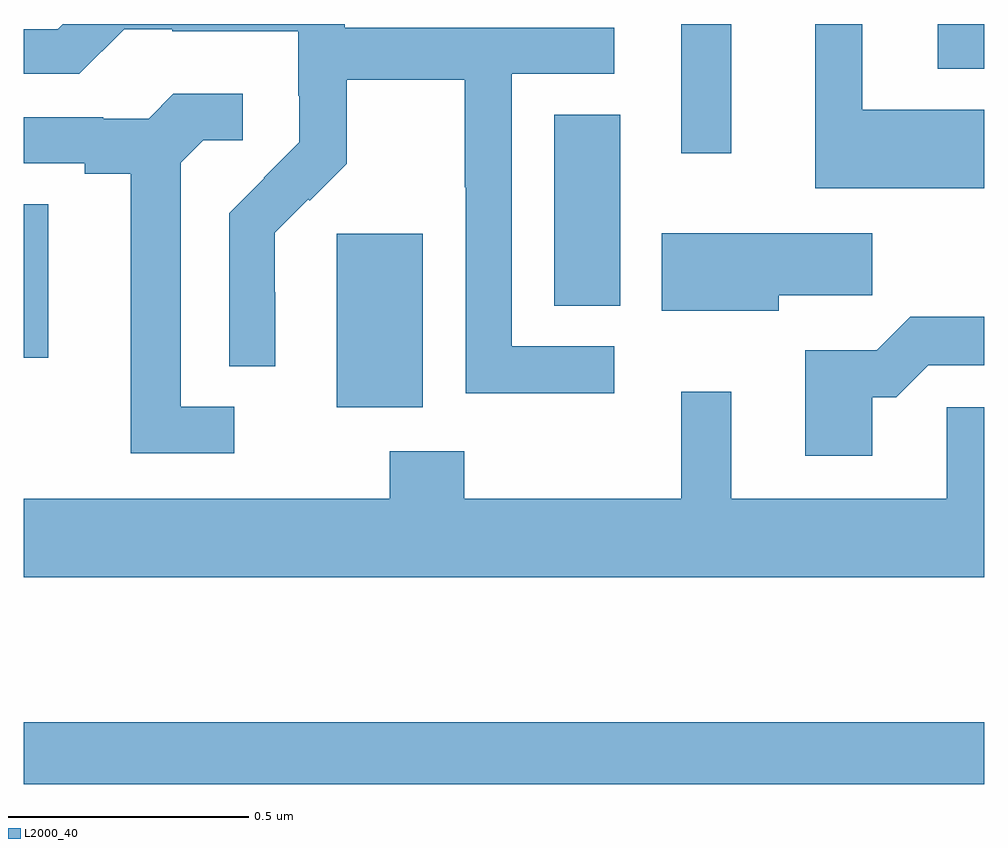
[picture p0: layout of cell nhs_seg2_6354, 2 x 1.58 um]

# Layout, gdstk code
import gdstk
lib = gdstk.Library(unit=1e-6, precision=1e-09)
def R(c, l, rs):  # rectangles x0, y0, x1, y1
    for r in rs: c.add(gdstk.rectangle(r[:2], r[2:], *l))
def P(c, l, *ps):  # polygons
    for p in ps: c.add(gdstk.Polygon(p, *l))
L2000_40 = (2000, 40)

nhs_seg2_6354 = lib.new_cell('nhs_seg2_6354')
R(nhs_seg2_6354, L2000_40, [(190,635.218,192,635.347), (190.652,636.002,190.831,636.363), (190,636.105,190.051,636.425), (191.105,636.214,191.242,636.611), (191.369,636.531,191.473,636.8), (191.903,636.707,192,636.8)])
P(nhs_seg2_6354, L2000_40, [(192,636.622),(191.746,636.622),(191.746,636.8),(191.648,636.8),(191.648,636.458),(192,636.458)],
  [(191.23,636.129),(191.016,636.129),(191.016,636.696),(191.23,636.696),(191.23,636.792),(190.668,636.792),(190.668,636.8),(190.082,636.8),(190.071,636.789),(190,636.789),(190,636.696),(190.116,636.696),(190.209,636.789),(190.309,636.789),(190.309,636.785),(190.572,636.785),(190.572,636.651),(190.574,636.651),(190.574,636.554),(190.5,636.48),(190.501,636.479),(190.428,636.406),(190.428,636.088),(190.524,636.088),(190.524,636.242),(190.523,636.242),(190.523,636.365),(190.593,636.435),(190.596,636.432),(190.673,636.509),(190.673,636.684),(190.918,636.684),(190.918,636.46),(190.92,636.46),(190.92,636.031),(191.23,636.031)],
  [(190.438,636.003),(190.327,636.003),(190.327,636.511),(190.374,636.558),(190.456,636.558),(190.456,636.655),(190.312,636.655),(190.26,636.603),(190.166,636.603),(190.166,636.606),(190,636.606),(190,636.51),(190.127,636.51),(190.127,636.488),(190.223,636.488),(190.223,635.907),(190.438,635.907)],
  [(191.572,636.235),(191.767,636.235),(191.767,636.364),(191.328,636.364),(191.328,636.203),(191.572,636.203)],
  [(191.767,636.023),(191.816,636.023),(191.883,636.09),(192,636.09),(192,636.191),(191.846,636.191),(191.776,636.121),(191.627,636.121),(191.627,635.901),(191.767,635.901)],
  [(192,636.002),(191.922,636.002),(191.922,635.812),(191.473,635.812),(191.473,636.034),(191.369,636.034),(191.369,635.812),(190.917,635.812),(190.917,635.911),(190.762,635.911),(190.762,635.812),(190,635.812),(190,635.648),(192,635.648)])

lib.write_gds('nhs_seg2_6354.gds')
